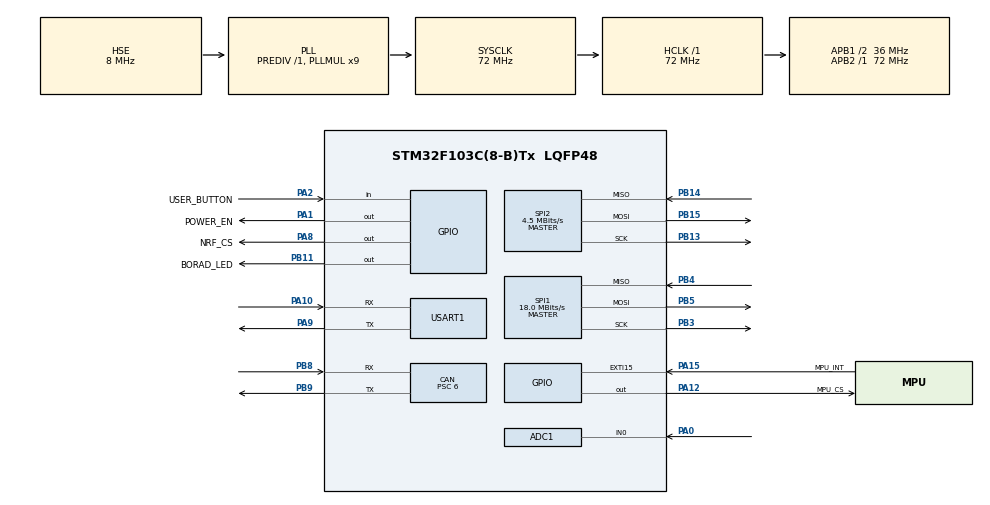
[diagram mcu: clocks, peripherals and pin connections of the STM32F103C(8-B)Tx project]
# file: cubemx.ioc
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ADC1.Channel-4\#ChannelRegularConversion=ADC_CHANNEL_0
ADC1.NbrOfConversionFlag=1
ADC1.Rank-4\#ChannelRegularConversion=1
ADC1.SamplingTime-4\#ChannelRegularConversion=ADC_SAMPLETIME_1CYCLE_5
ADC1.master=1
CAN.ABOM=ENABLE
CAN.BS1=CAN_BS1_4TQ
CAN.CalculateBaudRate=999999
CAN.CalculateTimeBit=1000
CAN.CalculateTimeQuantum=166.66666666666669
CAN.Prescaler=6
Dma.Request0=USART1_TX
Dma.Request1=USART1_RX
Dma.USART1_RX.1.Direction=DMA_PERIPH_TO_MEMORY
Dma.USART1_RX.1.Instance=DMA1_Channel5
Dma.USART1_RX.1.MemDataAlignment=DMA_MDATAALIGN_BYTE
Dma.USART1_RX.1.MemInc=DMA_MINC_ENABLE
Dma.USART1_RX.1.Mode=DMA_CIRCULAR
Dma.USART1_RX.1.PeriphDataAlignment=DMA_PDATAALIGN_BYTE
Dma.USART1_RX.1.PeriphInc=DMA_PINC_DISABLE
Dma.USART1_RX.1.Priority=DMA_PRIORITY_LOW
Dma.USART1_TX.0.Direction=DMA_MEMORY_TO_PERIPH
Dma.USART1_TX.0.Instance=DMA1_Channel4
Dma.USART1_TX.0.MemDataAlignment=DMA_MDATAALIGN_BYTE
Dma.USART1_TX.0.MemInc=DMA_MINC_ENABLE
Dma.USART1_TX.0.Mode=DMA_NORMAL
Dma.USART1_TX.0.PeriphDataAlignment=DMA_PDATAALIGN_BYTE
Dma.USART1_TX.0.PeriphInc=DMA_PINC_DISABLE
Dma.USART1_TX.0.Priority=DMA_PRIORITY_LOW
Mcu.Family=STM32F1
Mcu.Name=STM32F103C(8-B)Tx
Mcu.Package=LQFP48
NVIC.DMA1_Channel4_IRQn=true\:10\:0\:true\:false\:true\:false\:true\:true
NVIC.DMA1_Channel5_IRQn=true\:10\:0\:true\:false\:true\:false\:true\:true
NVIC.PriorityGroup=NVIC_PRIORITYGROUP_4
NVIC.SPI1_IRQn=true\:3\:0\:true\:false\:true\:true\:true\:true
NVIC.SPI2_IRQn=true\:3\:0\:true\:false\:true\:true\:true\:true
NVIC.TIM1_BRK_IRQn=true\:5\:0\:true\:false\:true\:true\:true\:true
NVIC.TIM1_CC_IRQn=true\:5\:0\:true\:false\:true\:true\:true\:true
NVIC.TIM1_TRG_COM_IRQn=true\:5\:0\:true\:false\:true\:true\:true\:true
NVIC.TIM1_UP_IRQn=true\:5\:0\:true\:false\:true\:true\:true\:true
NVIC.USART1_IRQn=true\:10\:0\:true\:false\:true\:true\:true\:true
NVIC.USB_LP_CAN1_RX0_IRQn=true\:3\:0\:true\:false\:true\:true\:true\:true
PA0-WKUP.Signal=ADCx_IN0
PA1.GPIO_Label=POWER_EN
PA1.Signal=GPIO_Output
PA10.Mode=Asynchronous
PA10.Signal=USART1_RX
PA12.GPIO_Label=MPU_CS
PA12.Signal=GPIO_Output
PA13.Mode=Serial_Wire
PA13.Signal=SYS_JTMS-SWDIO
PA14.Mode=Serial_Wire
PA14.Signal=SYS_JTCK-SWCLK
PA15.GPIO_Label=MPU_INT
PA15.Signal=GPXTI15
PA2.GPIO_Label=USER_BUTTON
PA2.GPIO_PuPd=GPIO_PULLUP
PA2.Signal=GPIO_Input
PA8.GPIO_Label=NRF_CS
PA8.Signal=GPIO_Output
PA9.Mode=Asynchronous
PA9.Signal=USART1_TX
PB11.GPIO_Label=BORAD_LED
PB11.GPIO_PuPd=GPIO_NOPULL
PB11.Signal=GPIO_Output
PB13.Mode=Full_Duplex_Master
PB13.Signal=SPI2_SCK
PB14.Mode=Full_Duplex_Master
PB14.Signal=SPI2_MISO
PB15.Mode=Full_Duplex_Master
PB15.Signal=SPI2_MOSI
PB3.Mode=Full_Duplex_Master
PB3.Signal=SPI1_SCK
PB4.Mode=Full_Duplex_Master
PB4.Signal=SPI1_MISO
PB5.Mode=Full_Duplex_Master
PB5.Signal=SPI1_MOSI
PB8.Mode=CAN_Activate
PB8.Signal=CAN_RX
PB9.Mode=CAN_Activate
PB9.Signal=CAN_TX
PD0-OSC_IN.Mode=HSE-External-Oscillator
PD0-OSC_IN.Signal=RCC_OSC_IN
PD1-OSC_OUT.Mode=HSE-External-Oscillator
PD1-OSC_OUT.Signal=RCC_OSC_OUT
ProjectManager.HeapSize=0x200
ProjectManager.StackSize=0x400
ProjectManager.TargetToolchain=Makefile
RCC.ADCPresc=RCC_ADCPCLK2_DIV6
RCC.AHBFreq_Value=72000000
RCC.APB1CLKDivider=RCC_HCLK_DIV2
RCC.APB1Freq_Value=36000000
RCC.APB1TimFreq_Value=72000000
RCC.APB2Freq_Value=72000000
RCC.APB2TimFreq_Value=72000000
RCC.HCLKFreq_Value=72000000
RCC.PLLMUL=RCC_PLL_MUL9
RCC.PLLSourceVirtual=RCC_PLLSOURCE_HSE
RCC.SYSCLKFreq_VALUE=72000000
RCC.SYSCLKSource=RCC_SYSCLKSOURCE_PLLCLK
RCC.USBFreq_Value=72000000
SH.ADCx_IN0.0=ADC1_IN0,IN0
SPI1.BaudRatePrescaler=SPI_BAUDRATEPRESCALER_4
SPI1.CLKPhase=SPI_PHASE_2EDGE
SPI1.CLKPolarity=SPI_POLARITY_HIGH
SPI1.CalculateBaudRate=18.0 MBits/s
SPI1.Direction=SPI_DIRECTION_2LINES
SPI1.Mode=SPI_MODE_MASTER
SPI1.VirtualType=VM_MASTER
SPI2.BaudRatePrescaler=SPI_BAUDRATEPRESCALER_8
SPI2.CLKPhase=SPI_PHASE_2EDGE
SPI2.CLKPolarity=SPI_POLARITY_LOW
SPI2.CalculateBaudRate=4.5 MBits/s
SPI2.DataSize=SPI_DATASIZE_16BIT
SPI2.Direction=SPI_DIRECTION_2LINES
SPI2.Mode=SPI_MODE_MASTER
SPI2.VirtualType=VM_MASTER
TIM1.Period=100-1
TIM1.Prescaler=72-1
USART1.VirtualMode=VM_ASYNC
VP_TIM1_VS_ClockSourceINT.Mode=Internal
board=custom

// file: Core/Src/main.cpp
/* USER CODE BEGIN Header */
/**
 ******************************************************************************
 * @file           : main.c
 * @brief          : Main program body
 ******************************************************************************
 * @attention
 *
 * Copyright (c) 2023 STMicroelectronics.
 * All rights reserved.
 *
 * This software is licensed under terms that can be found in the LICENSE file
 * in the root directory of this software component.
 * If no LICENSE file comes with this software, it is provided AS-IS.
 *
 ******************************************************************************
 */
/* USER CODE END Header */
#include "main.h"
#include "adc.h"
#include "can.h"
#include "dma.h"
#include "spi.h"
#include "tim.h"
#include "usart.h"
#include "gpio.h"

/* USER CODE BEGIN Includes */
#include "Key_cpp/bsp_key.hpp"
#include "led_cpp/bsp_led.hpp"
#include "powerio/powerio.hpp"
#include "usart_cpp/bsp_usart.hpp"
#include "mpu6500/bsp_mpu6500.h"
#include "mpu6500/app_imu.h"
#include "adc_cpp/bsp_adc.hpp"
// #include "serialstudio/bsp_serialstudio.hpp"
#include "timer/timer.hpp"

#include <math.h>

/* apps */
#include "usartcmd/app_usartcmd.hpp"
#include "txmotor/app_txmotor.hpp"
#include "ctrlmotor/ctrlmotor.hpp"
#include "app_encoder/app_encoder.hpp"
/* USER CODE END Includes */

void SystemClock_Config(void);

/* USER CODE BEGIN 0 */
float Custom_Diff_temp;
Button_State state_temp;
/* USER CODE END 0 */

int main(void)
{

  /* MCU Configuration--------------------------------------------------------*/

  /* Reset of all peripherals, Initializes the Flash interface and the Systick. */
  HAL_Init();

  /* Configure the system clock */
  SystemClock_Config();

  /* Initialize all configured peripherals */
  MX_GPIO_Init();
  MX_DMA_Init();
  MX_SPI1_Init();
  MX_SPI2_Init();
  MX_USART1_UART_Init();
  MX_ADC1_Init();
  MX_TIM1_Init();
  MX_CAN_Init();
  /* USER CODE BEGIN 2 */
  BORAD_LED.ctrl(LED_OFF);
  HAL_Delay(1000);
  app_power_Ctrl(POWER_ENABLE); // 拉高电源使能端口
  BORAD_LED.ctrl(LED_ON);
  HAL_Delay(1000);

  USART_Debug_DMA_Init();

  /* mpu6500初始化 */
  BORAD_LED.ctrl(LED_OFF);
  HAL_Delay(100);
  if (bsp_mpu6500_Init() != HAL_ERROR)
  {
    HAL_Delay(100);
    if (app_imu_Init() == 0)
    {
      printf("imu id is error\r\n");
      BORAD_LED.ctrl(LED_ON);
      HAL_Delay(1000);
      BORAD_LED.ctrl(LED_OFF);
    }
  }
  else
  { /* 失败初始化 */
    printf("mpu6500 id is error\r\n");
    BORAD_LED.ctrl(LED_ON);
    HAL_Delay(1000);
    BORAD_LED.ctrl(LED_OFF);
  };

  // 电池 ADC 初始化
  bsp_ADC2.init();

  /* led初始化 */
  BORAD_LED.twinkle_Config(200, 2);

  /* 按键初始化 */
  USER_Button.clean();

  /* 功能运行定时器初始化 */
  timer_init();

  /* 串口调试工具检查 */
  // serial_test.check_frame_length();

  /* usartcmd 初始化 */
  command_usart1_init();

  /* can 初始化 */
  bsp_can_Init();

  /* 所有电机下电 */
  motor1.command_SafeMode();
  motor2.command_SafeMode();

  /* 直立环 pid 微分误差输入 */
  balance_pid.Custom_Diff = &Custom_Diff_temp;

  /* USER CODE END 2 */

  /* Infinite loop */
  while (1)
  {

    /* USER CODE BEGIN 3 */

    /* usartcmd 测试代码 */
    // command_usart1.run();

    /* foc 测试代码 */
    // 已放在了 timer 中断中处理

    /* 串口输出展示 */
    // static uint16_t print_flag = 0;
    // print_flag++;
    // if (print_flag == 1)
    // {
    //   /* serial studio 绘图 */
    //   serial_test.config_data(motor1.true_angle, 0);
    //   serial_test.config_data(motor1.true_speed, 1);
    //   serial_test.config_data(motor1.true_current, 2);
    //   printf("\r\n");
    //   serial_test.send_frame();

    //   print_flag = 0;
    // }

    /* end */

    /* MPU6500测试代码 */
    // app_imu_So3thread();
    // printf("pitch = %5.2f  ", app_imu_data.Pitch);
    // printf("roll = %5.2f  ", app_imu_data.Roll);
    // printf("yaw = %5.2f  \r\n", app_imu_data.Yaw);

    // printf("Accel x = %5d  ",app_imu_data.original.Accel[0]);
    // printf("y = %5d  ",app_imu_data.original.Accel[1]);
    // printf("z = %5d  ",app_imu_data.original.Accel[2]);
    // printf("gyro x = %5d  ",app_imu_data.original.Gyro[0]);
    // printf("y = %5d  ",app_imu_data.original.Gyro[1]);
    // printf("z = %5d  \r\n",app_imu_data.original.Gyro[2]);
    /* end */

    /* app 编码器测试代码 */
    // printf("motor1Encoder.speed = %5.2f  ", motor1Encoder.speed);
    // printf("motor2Encoder.speed = %5.2f  \r\n", motor2Encoder.speed);

    /* 按键电机上电代码 */
    static uint16_t key_enable_motor_flag = 0;
    key_enable_motor_flag++;
    if (key_enable_motor_flag == 10)
    {
      key_enable_motor_flag = 0;
      if (USER_Button.OUT_State == Button_OFF && state_temp == Button_ON)
      {
        motor1.command_SafeMode();
        motor2.command_SafeMode();
      }
      else if (USER_Button.OUT_State == Button_ON && state_temp == Button_OFF)
      {
        motor1.command_RunMode();
        motor2.command_RunMode();
      }
      state_temp = USER_Button.OUT_State;
    }

    /* 速度环 测试代码 */
    // printf("balance_Mspeed = %5.2f  ", balance_Mspeed);
    // printf("speed_Mspeed = %5.2f  \r\n", speed_Mspeed);

    /* 平衡小车控制 */
    // app_imu_So3thread();
    Custom_Diff_temp = app_imu_data.original.Gyro[1];
    car_balance(1);
    car_speed(car_target_speed);
    car_turn(car_target_ratate);

    // car_3RingCtrl(balance_Mspeed, 0, 0);
    // car_3RingCtrl(0, speed_Mspeed, 0);
    car_3RingCtrl(balance_Mspeed, speed_Mspeed, turn_Mspeed);

    /* 电源电压值串口发送 */
    if (v_Battery < 6.9)
    {
      printf("\r\n\r\nthe v_battery is %5.2f\r\n\r\n", v_Battery);
    }

    /* 运行杂项 */
    command_usart1.run();
    HAL_Delay(1);
  }
  /* USER CODE END 3 */
}

void SystemClock_Config(void)
{
  RCC_OscInitTypeDef RCC_OscInitStruct = {0};
  RCC_ClkInitTypeDef RCC_ClkInitStruct = {0};
  RCC_PeriphCLKInitTypeDef PeriphClkInit = {0};

  /** Initializes the RCC Oscillators according to the specified parameters
   * in the RCC_OscInitTypeDef structure.
   */
  RCC_OscInitStruct.OscillatorType = RCC_OSCILLATORTYPE_HSE;
  RCC_OscInitStruct.HSEState = RCC_HSE_ON;
  RCC_OscInitStruct.HSEPredivValue = RCC_HSE_PREDIV_DIV1;
  RCC_OscInitStruct.HSIState = RCC_HSI_ON;
  RCC_OscInitStruct.PLL.PLLState = RCC_PLL_ON;
  RCC_OscInitStruct.PLL.PLLSource = RCC_PLLSOURCE_HSE;
  RCC_OscInitStruct.PLL.PLLMUL = RCC_PLL_MUL9;
  if (HAL_RCC_OscConfig(&RCC_OscInitStruct) != HAL_OK)
  {
    Error_Handler();
  }

  /** Initializes the CPU, AHB and APB buses clocks
   */
  RCC_ClkInitStruct.ClockType = RCC_CLOCKTYPE_HCLK | RCC_CLOCKTYPE_SYSCLK | RCC_CLOCKTYPE_PCLK1 | RCC_CLOCKTYPE_PCLK2;
  RCC_ClkInitStruct.SYSCLKSource = RCC_SYSCLKSOURCE_PLLCLK;
  RCC_ClkInitStruct.AHBCLKDivider = RCC_SYSCLK_DIV1;
  RCC_ClkInitStruct.APB1CLKDivider = RCC_HCLK_DIV2;
  RCC_ClkInitStruct.APB2CLKDivider = RCC_HCLK_DIV1;

  if (HAL_RCC_ClockConfig(&RCC_ClkInitStruct, FLASH_LATENCY_2) != HAL_OK)
  {
    Error_Handler();
  }
  PeriphClkInit.PeriphClockSelection = RCC_PERIPHCLK_ADC;
  PeriphClkInit.AdcClockSelection = RCC_ADCPCLK2_DIV6;
  if (HAL_RCCEx_PeriphCLKConfig(&PeriphClkInit) != HAL_OK)
  {
    Error_Handler();
  }
}

void Error_Handler(void)
{
  __disable_irq();
  while (1)
  {
  }
}
